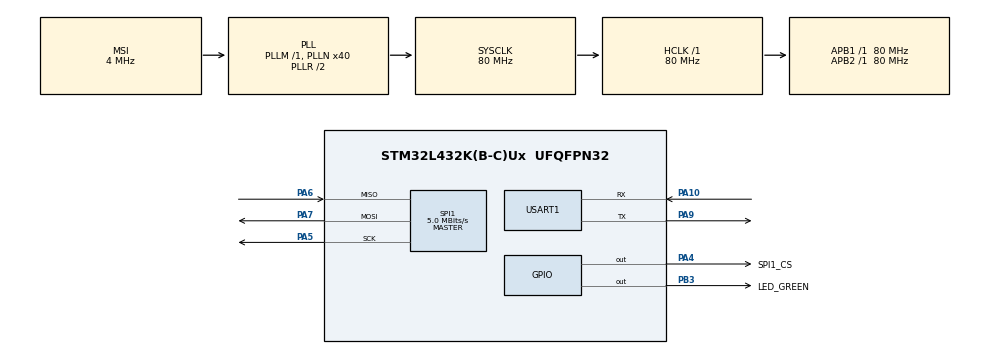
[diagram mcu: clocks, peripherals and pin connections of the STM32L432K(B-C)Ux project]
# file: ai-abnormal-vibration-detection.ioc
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Mcu.Family=STM32L4
Mcu.Name=STM32L432K(B-C)Ux
Mcu.Package=UFQFPN32
NVIC.PriorityGroup=NVIC_PRIORITYGROUP_4
PA10.Mode=Asynchronous
PA10.Signal=USART1_RX
PA13\ (JTMS-SWDIO).Mode=Serial_Wire
PA13\ (JTMS-SWDIO).Signal=SYS_JTMS-SWDIO
PA14\ (JTCK-SWCLK).Mode=Serial_Wire
PA14\ (JTCK-SWCLK).Signal=SYS_JTCK-SWCLK
PA4.GPIO_Label=SPI1_CS
PA4.Signal=GPIO_Output
PA5.Mode=Full_Duplex_Master
PA5.Signal=SPI1_SCK
PA6.Mode=Full_Duplex_Master
PA6.Signal=SPI1_MISO
PA7.Mode=Full_Duplex_Master
PA7.Signal=SPI1_MOSI
PA9.Mode=Asynchronous
PA9.Signal=USART1_TX
PB3\ (JTDO-TRACESWO).GPIO_Label=LED_GREEN
PB3\ (JTDO-TRACESWO).Signal=GPIO_Output
ProjectManager.HeapSize=0x200
ProjectManager.StackSize=0x400
ProjectManager.TargetToolchain=Makefile
RCC.AHBFreq_Value=80000000
RCC.APB1Freq_Value=80000000
RCC.APB1TimFreq_Value=80000000
RCC.APB2Freq_Value=80000000
RCC.APB2TimFreq_Value=80000000
RCC.CortexFreq_Value=80000000
RCC.HCLKFreq_Value=80000000
RCC.HSE_VALUE=8000000
RCC.HSI48_VALUE=48000000
RCC.HSI_VALUE=16000000
RCC.LSE_VALUE=32768
RCC.MSI_VALUE=4000000
RCC.PLLN=40
RCC.SYSCLKFreq_VALUE=80000000
RCC.SYSCLKSource=RCC_SYSCLKSOURCE_PLLCLK
RCC.VCOOutputFreq_Value=160000000
SPI1.BaudRatePrescaler=SPI_BAUDRATEPRESCALER_16
SPI1.CLKPhase=SPI_PHASE_2EDGE
SPI1.CLKPolarity=SPI_POLARITY_HIGH
SPI1.CalculateBaudRate=5.0 MBits/s
SPI1.DataSize=SPI_DATASIZE_8BIT
SPI1.Direction=SPI_DIRECTION_2LINES
SPI1.Mode=SPI_MODE_MASTER
SPI1.VirtualType=VM_MASTER
USART1.VirtualMode-Asynchronous=VM_ASYNC
board=custom

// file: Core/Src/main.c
/* USER CODE BEGIN Header */
/**
  ******************************************************************************
  * @file           : main.c
  * @brief          : Main program body
  ******************************************************************************
  * @attention
  *
  * Copyright (c) 2023 STMicroelectronics.
  * All rights reserved.
  *
  * This software is licensed under terms that can be found in the LICENSE file
  * in the root directory of this software component.
  * If no LICENSE file comes with this software, it is provided AS-IS.
  *
  ******************************************************************************
  */
/* USER CODE END Header */
#include "main.h"
#include "spi.h"
#include "usart.h"
#include "gpio.h"

/* USER CODE BEGIN Includes */
#include "lis3dh.h"
#include "stm32l4xx_hal_gpio.h"
#include "NanoEdgeAI.h"

#include <stdio.h>
#include <string.h>
/* USER CODE END Includes */

/* USER CODE BEGIN PD */
//#define COLLECTING_ACC_DATA
/* USER CODE END PD */

/* USER CODE BEGIN PM */
#define ARRAY_SIZE(x) (sizeof(x) / sizeof((x)[0]))
/* USER CODE END PM */

/* USER CODE BEGIN PV */
static float lis3dh_xyz[3];
static float acc_buf[DATA_INPUT_USER * AXIS_NUMBER];
/* USER CODE END PV */

void SystemClock_Config(void);

/* USER CODE BEGIN 0 */

// redirect printf to UART
// ref: https://www.openstm32.org/forumthread1055
int _write(int fd, char *ptr, int len)
{
    HAL_UART_Transmit(&huart1, (const uint8_t *) ptr, len, 1000);

    return len;
}

static void Fill_ACC_Buf(Lis3dh_dev_t *lis3dh_dev)
{
    for (uint16_t i = 0; i < DATA_INPUT_USER; i++) {
        if (lis3dh_dev->Read_Acceleration(lis3dh_dev, lis3dh_xyz)) {
            acc_buf[AXIS_NUMBER* i] = lis3dh_xyz[0];
            acc_buf[AXIS_NUMBER * i + 1] = lis3dh_xyz[1];
            acc_buf[AXIS_NUMBER * i + 2] = lis3dh_xyz[2];
        } else {
            i--;
        }
    }

}

__attribute__ ((unused)) static void Collect_ACC_Data(Lis3dh_dev_t *lis3dh_dev)
{
    Fill_ACC_Buf(lis3dh_dev);

    for (uint16_t isample = 0; isample < ARRAY_SIZE(acc_buf); isample++) {
        printf("%4.2f", acc_buf[isample]);
        printf(isample == ARRAY_SIZE(acc_buf) - 1 ? "\n" : " ");
    }
}
/* USER CODE END 0 */

int main(void)
{

    /* MCU Configuration--------------------------------------------------------*/

    /* Reset of all peripherals, Initializes the Flash interface and the Systick. */
    HAL_Init();

    /* Configure the system clock */
    SystemClock_Config();

    /* Initialize all configured peripherals */
    MX_GPIO_Init();
    MX_SPI1_Init();
    MX_USART1_UART_Init();
    /* USER CODE BEGIN 2 */
    Lis3dh_dev_t *lis3dh_dev = Lis3dh_New();
    if (!lis3dh_dev) {
        printf("failed to new lis3dh device\r\n");
        Error_Handler();
    }

#ifndef COLLECTING_ACC_DATA
    uint8_t similarity = 0;

    // init anomaly detection
    if (neai_anomalydetection_init() != NEAI_OK) {
        printf("failed to init anomaly detection\r\n");
        Error_Handler();
    }

    // learnging process
    for (uint16_t i = 0; i < MINIMUM_ITERATION_CALLS_FOR_EFFICIENT_LEARNING; i++) {
        Fill_ACC_Buf(lis3dh_dev);
        neai_anomalydetection_learn(acc_buf);
    }
#endif

    HAL_GPIO_WritePin(LED_GREEN_GPIO_Port, LED_GREEN_Pin, GPIO_PIN_SET);
    /* USER CODE END 2 */

    /* Infinite loop */
    while (1) {

        /* USER CODE BEGIN 3 */
#ifdef COLLECTING_ACC_DATA
        Collect_ACC_Data(lis3dh_dev);
#else
        // anomaly detection
        Fill_ACC_Buf(lis3dh_dev);
        neai_anomalydetection_detect(acc_buf, &similarity);
        printf("similarity: %d\r\n", similarity);
#endif
    }

    Lis3dh_Free(lis3dh_dev);
    /* USER CODE END 3 */
}

void SystemClock_Config(void)
{
    RCC_OscInitTypeDef RCC_OscInitStruct = { 0 };
    RCC_ClkInitTypeDef RCC_ClkInitStruct = { 0 };

    /** Configure the main internal regulator output voltage
  */
    if (HAL_PWREx_ControlVoltageScaling(PWR_REGULATOR_VOLTAGE_SCALE1) != HAL_OK) {
        Error_Handler();
    }

    /** Initializes the RCC Oscillators according to the specified parameters
  * in the RCC_OscInitTypeDef structure.
  */
    RCC_OscInitStruct.OscillatorType = RCC_OSCILLATORTYPE_MSI;
    RCC_OscInitStruct.MSIState = RCC_MSI_ON;
    RCC_OscInitStruct.MSICalibrationValue = 0;
    RCC_OscInitStruct.MSIClockRange = RCC_MSIRANGE_6;
    RCC_OscInitStruct.PLL.PLLState = RCC_PLL_ON;
    RCC_OscInitStruct.PLL.PLLSource = RCC_PLLSOURCE_MSI;
    RCC_OscInitStruct.PLL.PLLM = 1;
    RCC_OscInitStruct.PLL.PLLN = 40;
    RCC_OscInitStruct.PLL.PLLP = RCC_PLLP_DIV7;
    RCC_OscInitStruct.PLL.PLLQ = RCC_PLLQ_DIV2;
    RCC_OscInitStruct.PLL.PLLR = RCC_PLLR_DIV2;
    if (HAL_RCC_OscConfig(&RCC_OscInitStruct) != HAL_OK) {
        Error_Handler();
    }

    /** Initializes the CPU, AHB and APB buses clocks
  */
    RCC_ClkInitStruct.ClockType = RCC_CLOCKTYPE_HCLK | RCC_CLOCKTYPE_SYSCLK | RCC_CLOCKTYPE_PCLK1 | RCC_CLOCKTYPE_PCLK2;
    RCC_ClkInitStruct.SYSCLKSource = RCC_SYSCLKSOURCE_PLLCLK;
    RCC_ClkInitStruct.AHBCLKDivider = RCC_SYSCLK_DIV1;
    RCC_ClkInitStruct.APB1CLKDivider = RCC_HCLK_DIV1;
    RCC_ClkInitStruct.APB2CLKDivider = RCC_HCLK_DIV1;

    if (HAL_RCC_ClockConfig(&RCC_ClkInitStruct, FLASH_LATENCY_4) != HAL_OK) {
        Error_Handler();
    }
}

void Error_Handler(void)
{
    __disable_irq();
    while (1) {
    }
}
